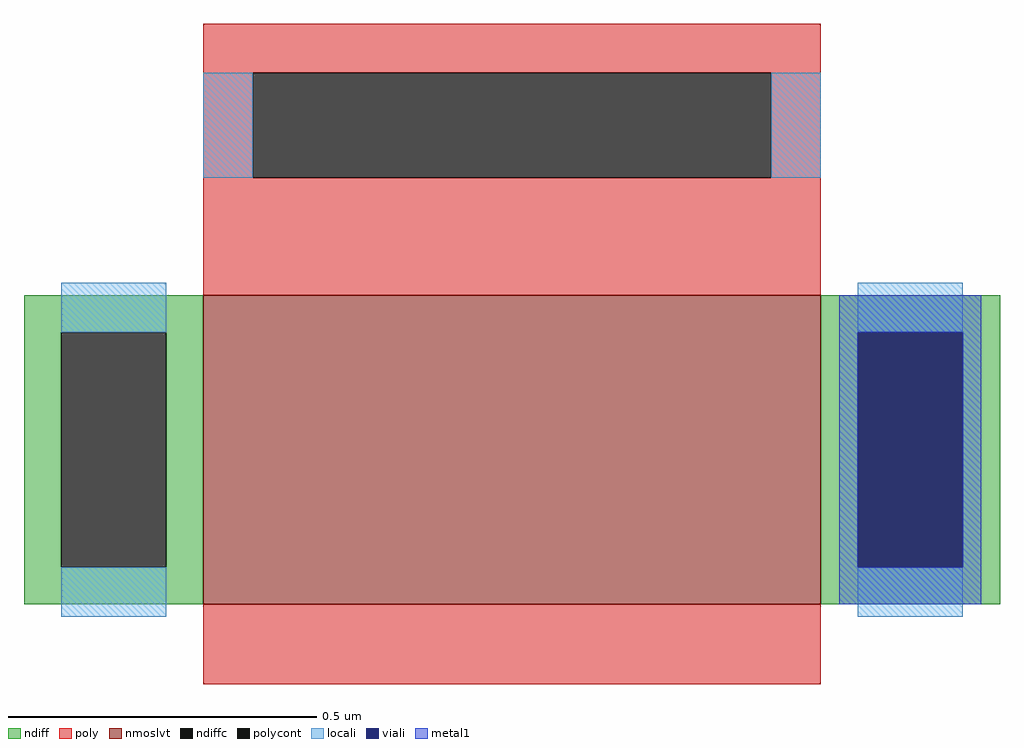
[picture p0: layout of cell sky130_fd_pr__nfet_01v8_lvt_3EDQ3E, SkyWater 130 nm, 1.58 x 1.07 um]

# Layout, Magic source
magic
tech sky130A
magscale 1 2
<< nmoslvt >>
rect -100 -81 100 19
<< ndiff >>
rect -158 7 -100 19
rect -158 -69 -146 7
rect -112 -69 -100 7
rect -158 -81 -100 -69
rect 100 7 158 19
rect 100 -69 112 7
rect 146 -69 158 7
rect 100 -81 158 -69
<< ndiffc >>
rect -146 -69 -112 7
rect 112 -69 146 7
<< poly >>
rect -100 91 100 107
rect -100 57 -84 91
rect 84 57 100 91
rect -100 19 100 57
rect -100 -107 100 -81
<< polycont >>
rect -84 57 84 91
<< locali >>
rect -100 57 -84 91
rect 84 57 100 91
rect -146 7 -112 23
rect -146 -85 -112 -69
rect 112 7 146 23
rect 112 -85 146 -69
<< viali >>
rect 112 -69 146 7
<< metal1 >>
rect 106 7 152 19
rect 106 -69 112 7
rect 146 -69 152 7
rect 106 -81 152 -69
<< properties >>
string gencell sky130_fd_pr__nfet_01v8_lvt
string library sky130
string parameters w 0.5 l 1.0 m 1 nf 1 diffcov 100 polycov 100 guard 0 glc 1 grc 1 gtc 1 gbc 1 tbcov 100 rlcov 100 topc 1 botc 0 poverlap 0 doverlap 1 lmin 0.15 wmin 0.42 class mosfet compatible {sky130_fd_pr__nfet_01v8 sky130_fd_pr__nfet_01v8_lvt  sky130_fd_bs_flash__special_sonosfet_star  sky130_fd_pr__nfet_g5v0d10v5 sky130_fd_pr__nfet_05v0_nvt  sky130_fd_pr__nfet_03v3_nvt} full_metal 1 viasrc 100 viadrn 0 viagate 0 viagb 0 viagr 0 viagl 0 viagt 0
<< end >>
